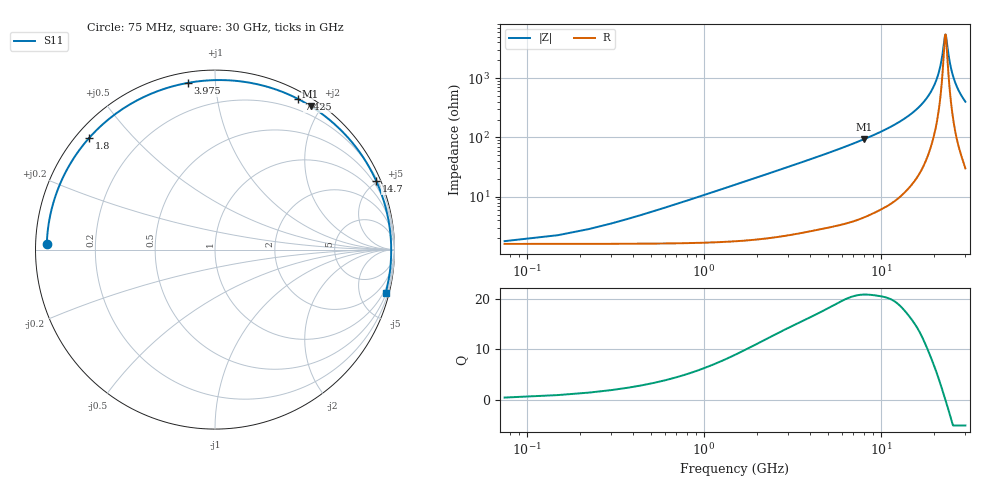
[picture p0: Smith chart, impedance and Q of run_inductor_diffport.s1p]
#  Hz  S  RI  R  50
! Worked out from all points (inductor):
!   400 points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, 75 MHz to 30 GHz, reference 50 ohm
!   read as one part to ground: L = 1.68 nH near 525 MHz
!   highest Q = 20.8 at 8.025 GHz (marker M1), where L = 1.85 nH
!   self-resonance near 23.15 GHz
!   S11 on the Smith chart (normalised r, x): 75 MHz: 0.03, +0.02; 1.8 GHz: 0.04, +0.38; 3.975 GHz: 0.05, +0.85; 7.425 GHz: 0.08, +1.69; 14.7 GHz: 0.30, +4.89; 30 GHz: 0.60, -7.97
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7.5e7  -0.9373 0.0297
4.5e8  -0.921 0.1764
9e8  -0.8723 0.3437
1.35e9  -0.7965 0.4944
1.8e9  -0.7001 0.6233
2.25e9  -0.5903 0.7282
2.775e9  -0.4543 0.8205
3.3e9  -0.3175 0.8836
3.825e9  -0.1858 0.922
3.975e9  -0.1496 0.9292
4.8e9  0.0358 0.9445
5.7e9  0.2097 0.9268
6.525e9  0.3437 0.8906
7.425e9  0.4646 0.8384
7.575e9  0.4824 0.829
8.025e9  0.5324 0.7997
8.775e9  0.6048 0.7496
9.525e9  0.6659 0.699
1.0425e10  0.727 0.6392
1.1325e10  0.7773 0.5809
1.29e10  0.8448 0.4837
1.47e10  0.8983 0.3819
1.5075e10  0.9071 0.3618
1.6875e10  0.9406 0.2702
1.8825e10  0.9635 0.1792
2.2575e10  0.9814 0.0224
2.6325e10  0.9753 -0.1168
3e10  0.9515 -0.2413
